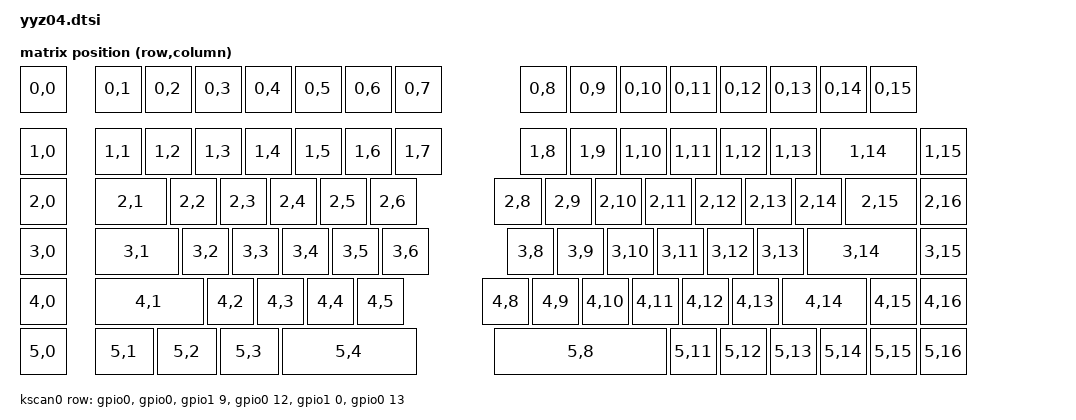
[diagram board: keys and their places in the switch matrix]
/*
 * Copyright (c) 2020 Noir Guo
 *
 * SPDX-License-Identifier: MIT
 */

#include <dt-bindings/zmk/matrix_transform.h>
#include <physical_layouts.dtsi>

#include <dt-bindings/led/led.h>

&pinctrl {
    spi3_default: spi3_default {
        group1 {
            psels = <NRF_PSEL(SPIM_MOSI, 0, 6)>;
        };
    };

    spi3_sleep: spi3_sleep {
        group1 {
            psels = <NRF_PSEL(SPIM_MOSI, 0, 6)>;
            low-power-enable;
        };
    };
};

&spi3 {
    compatible = "nordic,nrf-spim";
    status = "okay";

    pinctrl-0 = <&spi3_default>;
    pinctrl-1 = <&spi3_sleep>;
    pinctrl-names = "default", "sleep";

    led_strip: ws2812@0 {
        compatible = "worldsemi,ws2812-spi";

        /* SPI */
        reg = <0>; /* ignored, but necessary for SPI bindings */
        spi-max-frequency = <4000000>;

        /* WS2812 */
        chain-length = <90>; /* number of LEDs */
        spi-one-frame = <0x70>;
        spi-zero-frame = <0x40>;
        color-mapping = <LED_COLOR_ID_GREEN
                         LED_COLOR_ID_RED
                         LED_COLOR_ID_BLUE>;
    };
};
/ {
    yyz04_layout: yyz04_layout {
        compatible = "zmk,physical-layout";
        display-name = "default_layout";

        kscan = <&kscan0>;
        transform = <&matrix_transform0>;

       keys  //                     w   h    x    y     rot    rx    ry
            = <&key_physical_attrs 100 100    0    0       0     0     0>
            , <&key_physical_attrs 100 100  150    0       0     0     0>
            , <&key_physical_attrs 100 100  250    0       0     0     0>
            , <&key_physical_attrs 100 100  350    0       0     0     0>
            , <&key_physical_attrs 100 100  450    0       0     0     0>
            , <&key_physical_attrs 100 100  550    0       0     0     0>
            , <&key_physical_attrs 100 100  650    0       0     0     0>
            , <&key_physical_attrs 100 100  750    0       0     0     0>
            , <&key_physical_attrs 100 100 1000    0       0     0     0>
            , <&key_physical_attrs 100 100 1100    0       0     0     0>
            , <&key_physical_attrs 100 100 1200    0       0     0     0>
            , <&key_physical_attrs 100 100 1300    0       0     0     0>
            , <&key_physical_attrs 100 100 1400    0       0     0     0>
            , <&key_physical_attrs 100 100 1500    0       0     0     0>
            , <&key_physical_attrs 100 100 1600    0       0     0     0>
            , <&key_physical_attrs 100 100 1700    0       0     0     0>
            , <&key_physical_attrs 100 100    0  125       0     0     0>
            , <&key_physical_attrs 100 100  150  125       0     0     0>
            , <&key_physical_attrs 100 100  250  125       0     0     0>
            , <&key_physical_attrs 100 100  350  125       0     0     0>
            , <&key_physical_attrs 100 100  450  125       0     0     0>
            , <&key_physical_attrs 100 100  550  125       0     0     0>
            , <&key_physical_attrs 100 100  650  125       0     0     0>
            , <&key_physical_attrs 100 100  750  125       0     0     0>
            , <&key_physical_attrs 100 100 1000  125       0     0     0>
            , <&key_physical_attrs 100 100 1100  125       0     0     0>
            , <&key_physical_attrs 100 100 1200  125       0     0     0>
            , <&key_physical_attrs 100 100 1300  125       0     0     0>
            , <&key_physical_attrs 100 100 1400  125       0     0     0>
            , <&key_physical_attrs 100 100 1500  125       0     0     0>
            , <&key_physical_attrs 200 100 1600  125       0     0     0>
            , <&key_physical_attrs 100 100 1800  125       0     0     0>
            , <&key_physical_attrs 100 100    0  225       0     0     0>
            , <&key_physical_attrs 150 100  150  225       0     0     0>
            , <&key_physical_attrs 100 100  300  225       0     0     0>
            , <&key_physical_attrs 100 100  400  225       0     0     0>
            , <&key_physical_attrs 100 100  500  225       0     0     0>
            , <&key_physical_attrs 100 100  600  225       0     0     0>
            , <&key_physical_attrs 100 100  700  225       0     0     0>
            , <&key_physical_attrs 100 100  950  225       0     0     0>
            , <&key_physical_attrs 100 100 1050  225       0     0     0>
            , <&key_physical_attrs 100 100 1150  225       0     0     0>
            , <&key_physical_attrs 100 100 1250  225       0     0     0>
            , <&key_physical_attrs 100 100 1350  225       0     0     0>
            , <&key_physical_attrs 100 100 1450  225       0     0     0>
            , <&key_physical_attrs 100 100 1550  225       0     0     0>
            , <&key_physical_attrs 150 100 1650  225       0     0     0>
            , <&key_physical_attrs 100 100 1800  225       0     0     0>
            , <&key_physical_attrs 100 100    0  325       0     0     0>
            , <&key_physical_attrs 175 100  150  325       0     0     0>
            , <&key_physical_attrs 100 100  325  325       0     0     0>
            , <&key_physical_attrs 100 100  425  325       0     0     0>
            , <&key_physical_attrs 100 100  525  325       0     0     0>
            , <&key_physical_attrs 100 100  625  325       0     0     0>
            , <&key_physical_attrs 100 100  725  325       0     0     0>
            , <&key_physical_attrs 100 100  975  325       0     0     0>
            , <&key_physical_attrs 100 100 1075  325       0     0     0>
            , <&key_physical_attrs 100 100 1175  325       0     0     0>
            , <&key_physical_attrs 100 100 1275  325       0     0     0>
            , <&key_physical_attrs 100 100 1375  325       0     0     0>
            , <&key_physical_attrs 100 100 1475  325       0     0     0>
            , <&key_physical_attrs 225 100 1575  325       0     0     0>
            , <&key_physical_attrs 100 100 1800  325       0     0     0>
            , <&key_physical_attrs 100 100    0  425       0     0     0>
            , <&key_physical_attrs 225 100  150  425       0     0     0>
            , <&key_physical_attrs 100 100  375  425       0     0     0>
            , <&key_physical_attrs 100 100  475  425       0     0     0>
            , <&key_physical_attrs 100 100  575  425       0     0     0>
            , <&key_physical_attrs 100 100  675  425       0     0     0>
            , <&key_physical_attrs 100 100  925  425       0     0     0>
            , <&key_physical_attrs 100 100 1025  425       0     0     0>
            , <&key_physical_attrs 100 100 1125  425       0     0     0>
            , <&key_physical_attrs 100 100 1225  425       0     0     0>
            , <&key_physical_attrs 100 100 1325  425       0     0     0>
            , <&key_physical_attrs 100 100 1425  425       0     0     0>
            , <&key_physical_attrs 175 100 1525  425       0     0     0>
            , <&key_physical_attrs 100 100 1700  425       0     0     0>
            , <&key_physical_attrs 100 100 1800  425       0     0     0>
            , <&key_physical_attrs 100 100    0  525       0     0     0>
            , <&key_physical_attrs 125 100  150  525       0     0     0>
            , <&key_physical_attrs 125 100  275  525       0     0     0>
            , <&key_physical_attrs 125 100  400  525       0     0     0>
            , <&key_physical_attrs 275 100  525  525       0     0     0>
            , <&key_physical_attrs 350 100  950  525       0     0     0>
            , <&key_physical_attrs 100 100 1300  525       0     0     0>
            , <&key_physical_attrs 100 100 1400  525       0     0     0>
            , <&key_physical_attrs 100 100 1500  525       0     0     0>
            , <&key_physical_attrs 100 100 1600  525       0     0     0>
            , <&key_physical_attrs 100 100 1700  525       0     0     0>
            , <&key_physical_attrs 100 100 1800  525       0     0     0>
            ;
    };
};


/ {
    chosen {
        zmk,kscan = &kscan0;
        zmk,physical-layouts = &yyz04_layout;
        zmk,underglow = &led_strip;
    };

    default_transform: keymap_transform_0 {
        compatible = "zmk,matrix-transform";
        columns = <17>;
        rows = <6>;

        map = <
   RC(0,0) RC(0,1) RC(0,2) RC(0,3) RC(0,4) RC(0,5) RC(0,6) RC(0,7)   RC(0,8) RC(0,9) RC(0,10) RC(0,11) RC(0,12) RC(0,13) RC(0,14) RC(0,15) 
   RC(1,0) RC(1,1) RC(1,2) RC(1,3) RC(1,4) RC(1,5) RC(1,6) RC(1,7)   RC(1,8) RC(1,9) RC(1,10) RC(1,11) RC(1,12) RC(1,13) RC(1,14) RC(1,15)
   RC(2,0) RC(2,1) RC(2,2) RC(2,3) RC(2,4) RC(2,5) RC(2,6)           RC(2,8) RC(2,9) RC(2,10) RC(2,11) RC(2,12) RC(2,13) RC(2,14) RC(2,15) RC(2,16) 
   RC(3,0) RC(3,1) RC(3,2) RC(3,3) RC(3,4) RC(3,5) RC(3,6)           RC(3,8) RC(3,9) RC(3,10) RC(3,11) RC(3,12) RC(3,13) RC(3,14) RC(3,15)
   RC(4,0) RC(4,1) RC(4,2) RC(4,3) RC(4,4) RC(4,5)                   RC(4,8) RC(4,9) RC(4,10) RC(4,11) RC(4,12) RC(4,13) RC(4,14) RC(4,15) RC(4,16) 
   RC(5,0) RC(5,1) RC(5,2) RC(5,3) RC(5,4)                           RC(5,8)                  RC(5,11) RC(5,12) RC(5,13) RC(5,14) RC(5,15) RC(5,16)
                                        

        >;
    };

    kscan0: kscan {
        compatible = "zmk,kscan-gpio-matrix";
        diode-direction = "col2row";
        wakeup-source;

        row-gpios
            = <&gpio0 8(GPIO_ACTIVE_HIGH | GPIO_PULL_DOWN)>
            , <&gpio0 5(GPIO_ACTIVE_HIGH | GPIO_PULL_DOWN)>
            , <&gpio1 9 (GPIO_ACTIVE_HIGH | GPIO_PULL_DOWN)>
            , <&gpio0 12 (GPIO_ACTIVE_HIGH | GPIO_PULL_DOWN)>
            , <&gpio1 0 (GPIO_ACTIVE_HIGH | GPIO_PULL_DOWN)>
	    , <&gpio0 13 (GPIO_ACTIVE_HIGH | GPIO_PULL_DOWN)>

        ;

    };

};

&yyz04_layout{
	transform = <&default_transform>;
	kscan = <&kscan0>;
};

zephyr_udc0: &usbd { 
        compatible = "nordic,nrf-usbd"; 
        status = "okay"; 
};
